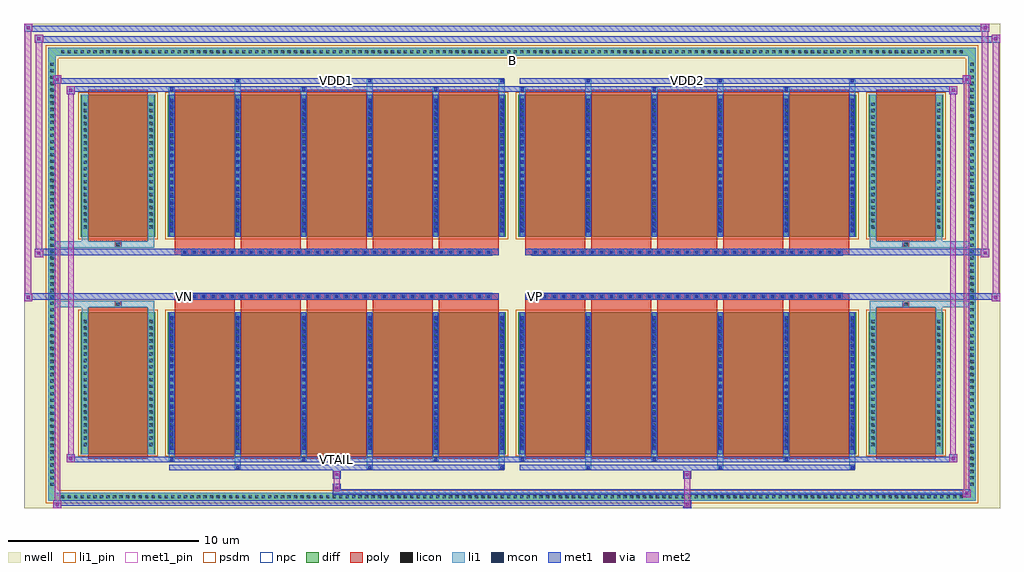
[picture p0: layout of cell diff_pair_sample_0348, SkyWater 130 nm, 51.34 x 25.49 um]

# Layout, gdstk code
import gdstk
lib = gdstk.Library(unit=1e-6, precision=5e-09)
def R(c, l, rs):  # rectangles x0, y0, x1, y1
    for r in rs: c.add(gdstk.rectangle(r[:2], r[2:], *l))
def A(c, l, x, y, w, h, nx, ny, dx, dy):  # array of equal rectangles
    R(c, l, [(x+i*dx, y+j*dy, x+i*dx+w, y+j*dy+h) for i in range(nx) for j in range(ny)])
def P(c, l, *ps):  # polygons
    for p in ps: c.add(gdstk.Polygon(p, *l))
nwell = (64, 20)
diff = (65, 20)
poly = (66, 20)
licon = (66, 44)
li1_pin = (67, 16)
li1 = (67, 20)
mcon = (67, 44)
met1_pin = (68, 16)
met1 = (68, 20)
via = (68, 44)
met2 = (69, 20)
psdm = (94, 20)
npc = (95, 20)

diff_pair_sample_0348 = lib.new_cell('diff_pair_sample_0348')
R(diff_pair_sample_0348, nwell, [(-25.67,-12.31,25.67,13.18), (-22.99,-10.5,-0.01,-0.8), (0.01,-10.5,22.99,-0.8), (-22.99,0.8,-0.01,10.5), (0.01,0.8,22.99,10.5)])
A(diff_pair_sample_0348, diff, -23.835, -11.91, 0.41, 0.41, 140, 2, 0.34, 23.41)
A(diff_pair_sample_0348, diff, -24.4, -11.255, 0.41, 0.41, 1, 66, 0, 0.34)
A(diff_pair_sample_0348, diff, 23.99, -11.255, 0.41, 0.41, 1, 66, 0, 0.34)
R(diff_pair_sample_0348, diff, [(-23.835,-11.91,23.835,-11.5), (-24.4,-11.255,-23.99,11.255), (23.99,-11.255,24.4,11.255), (-22.68,-9.455,-18.76,-1.985), (-18.12,-9.455,-0.32,-1.985), (0.32,-9.455,18.12,-1.985), (18.76,-9.455,22.68,-1.985), (-22.68,1.985,-18.76,9.455), (-18.12,1.985,-0.32,9.455), (0.32,1.985,18.12,9.455), (18.76,1.985,22.68,9.455), (-23.835,11.5,23.835,11.91)])
P(diff_pair_sample_0348, diff, [(24.4,11.91),(-24.4,11.91),(-24.4,-11.5),(-23.99,-11.5),(-23.99,11.5),(23.99,11.5),(23.99,-11.5),(-23.99,-11.5),(-24.4,-11.5),(-24.4,-11.91),(24.4,-11.91)])
A(diff_pair_sample_0348, poly, -17.73, -9.705, 3.14, 7.97, 5, 2, 3.47, 11.44)
A(diff_pair_sample_0348, poly, 0.71, -9.705, 3.14, 7.97, 5, 2, 3.47, 11.44)
A(diff_pair_sample_0348, poly, -17.73, -1.735, 3.14, 0.405, 5, 2, 3.47, 3.065)
A(diff_pair_sample_0348, poly, 0.71, -1.735, 3.14, 0.405, 5, 2, 3.47, 3.065)
A(diff_pair_sample_0348, poly, -17.385, -1.33, 0.33, 0.33, 33, 2, 0.5, 2.33)
A(diff_pair_sample_0348, poly, 1.055, -1.33, 0.33, 0.33, 33, 2, 0.5, 2.33)
R(diff_pair_sample_0348, poly, [(-22.29,-9.705,-19.15,-1.735), (19.15,-9.705,22.29,-1.735), (-20.885,-1.735,-20.555,-1.405), (-20.885,-1.735,-20.555,-1.405), (20.555,-1.735,20.885,-1.405), (20.555,-1.735,20.885,-1.405), (-17.73,-1.33,-0.71,-1), (0.71,-1.33,17.73,-1), (-17.73,1,-0.71,1.33), (0.71,1,17.73,1.33), (-20.885,1.405,-20.555,1.735), (-20.885,1.405,-20.555,1.735), (20.555,1.405,20.885,1.735), (20.555,1.405,20.885,1.735), (-22.29,1.735,-19.15,9.705), (19.15,1.735,22.29,9.705)])
A(diff_pair_sample_0348, licon, -23.715, -11.79, 0.17, 0.17, 140, 2, 0.34, 23.41)
A(diff_pair_sample_0348, licon, -24.28, -11.135, 0.17, 0.17, 1, 66, 0, 0.34)
A(diff_pair_sample_0348, licon, 24.11, -11.135, 0.17, 0.17, 1, 66, 0, 0.34)
A(diff_pair_sample_0348, licon, -22.54, -9.035, 0.17, 0.17, 1, 20, 0, 0.34)
A(diff_pair_sample_0348, licon, -19.07, -9.035, 0.17, 0.17, 1, 20, 0, 0.34)
A(diff_pair_sample_0348, licon, -17.98, -9.035, 0.17, 0.17, 6, 20, 3.47, 0.34)
A(diff_pair_sample_0348, licon, 0.46, -9.035, 0.17, 0.17, 6, 20, 3.47, 0.34)
A(diff_pair_sample_0348, licon, 18.9, -9.035, 0.17, 0.17, 1, 20, 0, 0.34)
A(diff_pair_sample_0348, licon, 22.37, -9.035, 0.17, 0.17, 1, 20, 0, 0.34)
A(diff_pair_sample_0348, licon, -17.305, -1.25, 0.17, 0.17, 33, 2, 0.5, 2.33)
A(diff_pair_sample_0348, licon, 1.135, -1.25, 0.17, 0.17, 33, 2, 0.5, 2.33)
A(diff_pair_sample_0348, licon, -22.54, 2.405, 0.17, 0.17, 1, 20, 0, 0.34)
A(diff_pair_sample_0348, licon, -19.07, 2.405, 0.17, 0.17, 1, 20, 0, 0.34)
A(diff_pair_sample_0348, licon, -17.98, 2.405, 0.17, 0.17, 6, 20, 3.47, 0.34)
A(diff_pair_sample_0348, licon, 0.46, 2.405, 0.17, 0.17, 6, 20, 3.47, 0.34)
A(diff_pair_sample_0348, licon, 18.9, 2.405, 0.17, 0.17, 1, 20, 0, 0.34)
A(diff_pair_sample_0348, licon, 22.37, 2.405, 0.17, 0.17, 1, 20, 0, 0.34)
R(diff_pair_sample_0348, licon, [(-20.805,-1.655,-20.635,-1.485), (20.635,-1.655,20.805,-1.485), (-20.805,1.485,-20.635,1.655), (20.635,1.485,20.805,1.655)])
R(diff_pair_sample_0348, li1_pin, [(-0.25,11,0.25,11.5)])
A(diff_pair_sample_0348, li1, -23.795, -11.87, 0.33, 0.33, 140, 2, 0.34, 23.41)
A(diff_pair_sample_0348, li1, -24.36, -11.215, 0.33, 0.33, 1, 66, 0, 0.34)
A(diff_pair_sample_0348, li1, 24.03, -11.215, 0.33, 0.33, 1, 66, 0, 0.34)
A(diff_pair_sample_0348, li1, -14.59, -10.26, 0.33, 0.805, 3, 2, 6.94, 19.715)
A(diff_pair_sample_0348, li1, -14.51, -10.26, 0.17, 0.17, 3, 2, 6.94, 20.35)
A(diff_pair_sample_0348, li1, 3.85, -10.26, 0.33, 0.805, 3, 2, 6.94, 19.715)
A(diff_pair_sample_0348, li1, 3.93, -10.26, 0.17, 0.17, 3, 2, 6.94, 20.35)
A(diff_pair_sample_0348, li1, -18.06, -9.83, 0.33, 0.375, 3, 2, 6.94, 19.285)
A(diff_pair_sample_0348, li1, -17.98, -9.83, 0.17, 0.17, 3, 2, 6.94, 19.49)
A(diff_pair_sample_0348, li1, 0.38, -9.83, 0.33, 0.375, 3, 2, 6.94, 19.285)
A(diff_pair_sample_0348, li1, 0.46, -9.83, 0.17, 0.17, 3, 2, 6.94, 19.49)
A(diff_pair_sample_0348, li1, -18.06, -9.455, 0.33, 7.47, 6, 2, 3.47, 11.44)
A(diff_pair_sample_0348, li1, 0.38, -9.455, 0.33, 7.47, 6, 2, 3.47, 11.44)
A(diff_pair_sample_0348, li1, -17.98, -9.225, 0.17, 0.17, 6, 20, 3.47, 0.36)
A(diff_pair_sample_0348, li1, -17.98, -9.225, 0.17, 7.01, 6, 2, 3.47, 11.44)
A(diff_pair_sample_0348, li1, 0.46, -9.225, 0.17, 0.17, 6, 20, 3.47, 0.36)
A(diff_pair_sample_0348, li1, 0.46, -9.225, 0.17, 7.01, 6, 2, 3.47, 11.44)
A(diff_pair_sample_0348, li1, -22.62, -9.115, 0.33, 0.33, 1, 20, 0, 0.34)
A(diff_pair_sample_0348, li1, -19.15, -9.115, 0.33, 0.33, 1, 20, 0, 0.34)
A(diff_pair_sample_0348, li1, -18.06, -9.115, 0.33, 0.33, 6, 20, 3.47, 0.34)
A(diff_pair_sample_0348, li1, 0.38, -9.115, 0.33, 0.33, 6, 20, 3.47, 0.34)
A(diff_pair_sample_0348, li1, 18.82, -9.115, 0.33, 0.33, 1, 20, 0, 0.34)
A(diff_pair_sample_0348, li1, 22.29, -9.115, 0.33, 0.33, 1, 20, 0, 0.34)
A(diff_pair_sample_0348, li1, -17.385, -1.33, 0.33, 0.33, 33, 2, 0.5, 2.33)
A(diff_pair_sample_0348, li1, 1.055, -1.33, 0.33, 0.33, 33, 2, 0.5, 2.33)
A(diff_pair_sample_0348, li1, -17.98, 2.215, 0.17, 0.17, 6, 20, 3.47, 0.36)
A(diff_pair_sample_0348, li1, 0.46, 2.215, 0.17, 0.17, 6, 20, 3.47, 0.36)
A(diff_pair_sample_0348, li1, -22.62, 2.325, 0.33, 0.33, 1, 20, 0, 0.34)
A(diff_pair_sample_0348, li1, -19.15, 2.325, 0.33, 0.33, 1, 20, 0, 0.34)
A(diff_pair_sample_0348, li1, -18.06, 2.325, 0.33, 0.33, 6, 20, 3.47, 0.34)
A(diff_pair_sample_0348, li1, 0.38, 2.325, 0.33, 0.33, 6, 20, 3.47, 0.34)
A(diff_pair_sample_0348, li1, 18.82, 2.325, 0.33, 0.33, 1, 20, 0, 0.34)
A(diff_pair_sample_0348, li1, 22.29, 2.325, 0.33, 0.33, 1, 20, 0, 0.34)
R(diff_pair_sample_0348, li1, [(-24.4,-11.91,-23.99,-11.5), (-24.4,-11.91,-23.99,-11.5), (-23.99,-11.91,23.99,-11.5), (23.99,-11.91,24.4,-11.5), (23.99,-11.91,24.4,-11.5), (-24.4,-11.5,-23.99,11.5), (23.99,-11.5,24.4,11.5), (-22.62,-9.455,-22.29,-1.985), (-19.15,-9.455,-18.82,-1.985), (18.82,-9.455,19.15,-1.985), (22.29,-9.455,22.62,-1.985), (-22.62,-1.985,-22.29,-1.405), (-19.15,-1.985,-18.82,-1.405), (18.82,-1.985,19.15,-1.405), (22.29,-1.985,22.62,-1.405), (-24.4,-1.735,-20.885,-1.405), (-22.62,-1.735,-20.885,-1.405), (-20.885,-1.735,-20.555,-1.405), (-20.555,-1.735,-18.82,-1.405), (18.82,-1.735,20.555,-1.405), (20.555,-1.735,20.885,-1.405), (20.555,-1.735,24.4,-1.405), (20.885,-1.735,22.62,-1.405), (-24.4,1.405,-20.885,1.735), (-22.62,1.405,-20.885,1.735), (-22.62,1.405,-22.29,1.985), (-20.885,1.405,-20.555,1.735), (-20.555,1.405,-18.82,1.735), (-19.15,1.405,-18.82,1.985), (18.82,1.405,20.555,1.735), (18.82,1.405,19.15,1.985), (20.555,1.405,20.885,1.735), (20.555,1.405,24.4,1.735), (20.885,1.405,22.62,1.735), (22.29,1.405,22.62,1.985), (-22.62,1.985,-22.29,9.455), (-19.15,1.985,-18.82,9.455), (18.82,1.985,19.15,9.455), (22.29,1.985,22.62,9.455), (-24.4,11.5,-23.99,11.91), (-24.4,11.5,-23.99,11.91), (-23.99,11.5,23.99,11.91), (23.99,11.5,24.4,11.91), (23.99,11.5,24.4,11.91)])
A(diff_pair_sample_0348, mcon, -14.51, -10.26, 0.17, 0.17, 3, 2, 6.94, 20.35)
A(diff_pair_sample_0348, mcon, 3.93, -10.26, 0.17, 0.17, 3, 2, 6.94, 20.35)
A(diff_pair_sample_0348, mcon, -17.98, -9.83, 0.17, 0.17, 3, 2, 6.94, 19.49)
A(diff_pair_sample_0348, mcon, 0.46, -9.83, 0.17, 0.17, 3, 2, 6.94, 19.49)
A(diff_pair_sample_0348, mcon, -17.98, -9.225, 0.17, 0.17, 6, 20, 3.47, 0.36)
A(diff_pair_sample_0348, mcon, 0.46, -9.225, 0.17, 0.17, 6, 20, 3.47, 0.36)
A(diff_pair_sample_0348, mcon, -17.305, -1.25, 0.17, 0.17, 33, 2, 0.5, 2.33)
A(diff_pair_sample_0348, mcon, 1.135, -1.25, 0.17, 0.17, 33, 2, 0.5, 2.33)
A(diff_pair_sample_0348, mcon, -17.98, 2.215, 0.17, 0.17, 6, 20, 3.47, 0.36)
A(diff_pair_sample_0348, mcon, 0.46, 2.215, 0.17, 0.17, 6, 20, 3.47, 0.36)
R(diff_pair_sample_0348, met1_pin, [(-9.355,-9.87,-9.085,-9.6), (-17.355,-1.29,-17.085,-1.02), (1.085,-1.29,1.355,-1.02), (-9.355,10.05,-9.085,10.32), (9.085,10.05,9.355,10.32)])
A(diff_pair_sample_0348, met1, -14.57, -10.32, 0.29, 0.29, 3, 2, 6.94, 20.35)
A(diff_pair_sample_0348, met1, 3.87, -10.32, 0.29, 0.29, 3, 2, 6.94, 20.35)
A(diff_pair_sample_0348, met1, -18.04, -9.89, 0.29, 0.29, 3, 2, 6.94, 19.49)
A(diff_pair_sample_0348, met1, 0.4, -9.89, 0.29, 0.29, 3, 2, 6.94, 19.49)
A(diff_pair_sample_0348, met1, -18.04, -9.455, 0.29, 7.47, 6, 2, 3.47, 11.44)
A(diff_pair_sample_0348, met1, 0.4, -9.455, 0.29, 7.47, 6, 2, 3.47, 11.44)
A(diff_pair_sample_0348, met1, -18.04, -9.285, 0.29, 0.29, 6, 20, 3.47, 0.36)
A(diff_pair_sample_0348, met1, 0.4, -9.285, 0.29, 0.29, 6, 20, 3.47, 0.36)
A(diff_pair_sample_0348, met1, -17.365, -1.31, 0.29, 0.29, 33, 2, 0.5, 2.33)
A(diff_pair_sample_0348, met1, 1.075, -1.31, 0.29, 0.29, 33, 2, 0.5, 2.33)
A(diff_pair_sample_0348, met1, -18.04, 2.155, 0.29, 0.29, 6, 20, 3.47, 0.36)
A(diff_pair_sample_0348, met1, 0.4, 2.155, 0.29, 0.29, 6, 20, 3.47, 0.36)
R(diff_pair_sample_0348, met1, [(-24.13,-12.31,-23.7,-11.88), (9.005,-12.31,9.435,-11.88), (-24.13,-12.17,9.435,-11.88), (23.7,-11.74,24.13,-11.31), (-9.435,-11.6,24.13,-11.31), (-9.435,-11.46,-9.005,-11.03), (-9.435,-10.75,-9.005,-10.32), (9.005,-10.75,9.435,-10.32), (-18.04,-10.32,-0.4,-10.03), (0.4,-10.32,18.04,-10.03), (-23.42,-9.89,-22.99,-9.46), (-23.42,-9.89,-18.04,-9.6), (-18.04,-9.89,-0.4,-9.6), (-0.4,-9.89,0.4,-9.6), (0.4,-9.89,18.04,-9.6), (18.04,-9.89,23.42,-9.6), (22.99,-9.89,23.42,-9.46), (-25.67,-1.43,-25.24,-1), (25.24,-1.43,25.67,-1), (-25.67,-1.33,-0.71,-1), (-17.73,-1.33,-0.71,-1), (0.71,-1.33,17.73,-1), (0.71,-1.33,25.67,-1), (-25.1,0.9,-24.67,1.33), (24.67,0.9,25.1,1.33), (-25.1,1,-17.73,1.33), (-17.73,1,-0.71,1.33), (0.71,1,17.73,1.33), (17.73,1,25.1,1.33), (-23.42,9.46,-22.99,9.89), (22.99,9.46,23.42,9.89), (-23.42,9.6,-18.04,9.89), (-18.04,9.6,-0.4,9.89), (-0.4,9.6,0.4,9.89), (0.4,9.6,18.04,9.89), (18.04,9.6,23.42,9.89), (-24.13,10.03,-23.7,10.46), (-24.13,10.03,-18.04,10.32), (-18.04,10.03,-0.4,10.32), (0.4,10.03,18.04,10.32), (18.04,10.03,24.13,10.32), (23.7,10.03,24.13,10.46), (-25.1,12.18,-24.67,12.61), (-25.1,12.18,-22.99,12.51), (-22.99,12.18,22.99,12.51), (22.99,12.18,25.67,12.51), (25.24,12.18,25.67,12.61), (-25.67,12.75,-25.24,13.18), (-25.67,12.75,-22.99,13.08), (-22.99,12.75,22.99,13.08), (22.99,12.75,25.1,13.08), (24.67,12.75,25.1,13.18)])
R(diff_pair_sample_0348, via, [(-23.99,-12.17,-23.84,-12.02), (9.145,-12.17,9.295,-12.02), (23.84,-11.6,23.99,-11.45), (-9.295,-11.32,-9.145,-11.17), (-9.295,-10.61,-9.145,-10.46), (9.145,-10.61,9.295,-10.46), (-23.28,-9.75,-23.13,-9.6), (23.13,-9.75,23.28,-9.6), (-25.53,-1.29,-25.38,-1.14), (25.38,-1.29,25.53,-1.14), (-24.96,1.04,-24.81,1.19), (24.81,1.04,24.96,1.19), (-23.28,9.6,-23.13,9.75), (23.13,9.6,23.28,9.75), (-23.99,10.17,-23.84,10.32), (23.84,10.17,23.99,10.32), (-24.96,12.32,-24.81,12.47), (25.38,12.32,25.53,12.47), (-25.53,12.89,-25.38,13.04), (24.81,12.89,24.96,13.04)])
R(diff_pair_sample_0348, met2, [(-24.13,-12.31,-23.7,-11.88), (-24.06,-12.31,-23.77,10.46), (-23.77,-12.31,-23.7,-11.88), (-24.08,-12.26,-23.75,-11.93), (9.055,-12.26,9.385,-11.93), (9.055,-11.93,9.385,-10.7), (23.7,-11.74,24.13,-11.31), (23.77,-11.74,24.06,10.46), (24.06,-11.74,24.13,-11.31), (23.75,-11.69,24.08,-11.36), (-9.385,-11.41,-9.055,-11.08), (-9.385,-11.08,-9.055,-10.7), (-9.385,-10.7,-9.055,-10.37), (9.055,-10.7,9.385,-10.37), (-23.42,-9.89,-22.99,-9.46), (-23.35,-9.89,-23.06,9.89), (-23.06,-9.89,-22.99,-9.46), (22.99,-9.89,23.42,-9.46), (23.06,-9.89,23.35,9.89), (23.35,-9.89,23.42,-9.46), (-23.37,-9.84,-23.04,-9.51), (23.04,-9.84,23.37,-9.51), (-25.67,-1.43,-25.24,-1), (-25.62,-1.43,-25.29,13.18), (-25.29,-1.43,-25.24,-1), (25.24,-1.43,25.67,-1), (25.29,-1.43,25.62,12.61), (25.62,-1.43,25.67,-1), (-25.62,-1.38,-25.29,-1.05), (25.29,-1.38,25.62,-1.05), (-25.1,0.9,-24.67,1.33), (-25.05,0.9,-24.72,12.61), (-24.72,0.9,-24.67,1.33), (24.67,0.9,25.1,1.33), (24.72,0.9,25.05,13.18), (25.05,0.9,25.1,1.33), (-25.05,0.95,-24.72,1.28), (24.72,0.95,25.05,1.28), (-23.42,9.46,-22.99,9.89), (-23.06,9.46,-22.99,9.89), (22.99,9.46,23.42,9.89), (23.35,9.46,23.42,9.89), (-23.37,9.51,-23.04,9.84), (23.04,9.51,23.37,9.84), (-24.13,10.03,-23.7,10.46), (-23.77,10.03,-23.7,10.46), (23.7,10.03,24.13,10.46), (24.06,10.03,24.13,10.46), (-24.08,10.08,-23.75,10.41), (23.75,10.08,24.08,10.41), (-25.1,12.18,-24.67,12.61), (-24.72,12.18,-24.67,12.61), (25.24,12.18,25.67,12.61), (25.62,12.18,25.67,12.61), (-25.05,12.23,-24.72,12.56), (25.29,12.23,25.62,12.56), (-25.67,12.75,-25.24,13.18), (-25.29,12.75,-25.24,13.18), (24.67,12.75,25.1,13.18), (25.05,12.75,25.1,13.18), (-25.62,12.8,-25.29,13.13), (24.72,12.8,25.05,13.13)])
R(diff_pair_sample_0348, psdm, [(-22.81,-9.585,-18.63,-1.855), (-18.25,-9.585,-0.19,-1.855), (0.19,-9.585,18.25,-1.855), (18.63,-9.585,22.81,-1.855), (-22.81,1.855,-18.63,9.585), (-18.25,1.855,-0.19,9.585), (0.19,1.855,18.25,9.585), (18.63,1.855,22.81,9.585)])
P(diff_pair_sample_0348, psdm, [(24.53,12.04),(-24.53,12.04),(-24.53,-11.37),(-23.86,-11.37),(-23.86,11.37),(23.86,11.37),(23.86,-11.37),(-23.86,-11.37),(-24.53,-11.37),(-24.53,-12.04),(24.53,-12.04)])
A(diff_pair_sample_0348, npc, -17.405, -1.35, 0.37, 0.37, 33, 2, 0.5, 2.33)
A(diff_pair_sample_0348, npc, 1.035, -1.35, 0.37, 0.37, 33, 2, 0.5, 2.33)
R(diff_pair_sample_0348, npc, [(-20.905,-1.755,-20.535,-1.385), (20.535,-1.755,20.905,-1.385), (-17.405,-1.35,-16.535,-0.98), (-17.405,-1.35,-16.535,-0.98), (-16.905,-1.35,-16.035,-0.98), (-16.905,-1.35,-16.035,-0.98), (-16.405,-1.35,-15.535,-0.98), (-16.405,-1.35,-15.535,-0.98), (-15.905,-1.35,-15.035,-0.98), (-15.905,-1.35,-15.035,-0.98), (-15.405,-1.35,-14.535,-0.98), (-15.405,-1.35,-14.535,-0.98), (-14.905,-1.35,-14.035,-0.98), (-14.905,-1.35,-14.035,-0.98), (-14.405,-1.35,-13.535,-0.98), (-14.405,-1.35,-13.535,-0.98), (-13.905,-1.35,-13.035,-0.98), (-13.905,-1.35,-13.035,-0.98), (-13.405,-1.35,-12.535,-0.98), (-13.405,-1.35,-12.535,-0.98), (-12.905,-1.35,-12.035,-0.98), (-12.905,-1.35,-12.035,-0.98), (-12.405,-1.35,-11.535,-0.98), (-12.405,-1.35,-11.535,-0.98), (-11.905,-1.35,-11.035,-0.98), (-11.905,-1.35,-11.035,-0.98), (-11.405,-1.35,-10.535,-0.98), (-11.405,-1.35,-10.535,-0.98), (-10.905,-1.35,-10.035,-0.98), (-10.905,-1.35,-10.035,-0.98), (-10.405,-1.35,-9.535,-0.98), (-10.405,-1.35,-9.535,-0.98), (-9.905,-1.35,-9.035,-0.98), (-9.905,-1.35,-9.035,-0.98), (-9.405,-1.35,-8.535,-0.98), (-9.405,-1.35,-8.535,-0.98), (-8.905,-1.35,-8.035,-0.98), (-8.905,-1.35,-8.035,-0.98), (-8.405,-1.35,-7.535,-0.98), (-8.405,-1.35,-7.535,-0.98), (-7.905,-1.35,-7.035,-0.98), (-7.905,-1.35,-7.035,-0.98), (-7.405,-1.35,-6.535,-0.98), (-7.405,-1.35,-6.535,-0.98), (-6.905,-1.35,-6.035,-0.98), (-6.905,-1.35,-6.035,-0.98), (-6.405,-1.35,-5.535,-0.98), (-6.405,-1.35,-5.535,-0.98), (-5.905,-1.35,-5.035,-0.98), (-5.905,-1.35,-5.035,-0.98), (-5.405,-1.35,-4.535,-0.98), (-5.405,-1.35,-4.535,-0.98), (-4.905,-1.35,-4.035,-0.98), (-4.905,-1.35,-4.035,-0.98), (-4.405,-1.35,-3.535,-0.98), (-4.405,-1.35,-3.535,-0.98), (-3.905,-1.35,-3.035,-0.98), (-3.905,-1.35,-3.035,-0.98), (-3.405,-1.35,-2.535,-0.98), (-3.405,-1.35,-2.535,-0.98), (-2.905,-1.35,-2.035,-0.98), (-2.905,-1.35,-2.035,-0.98), (-2.405,-1.35,-1.535,-0.98), (-2.405,-1.35,-1.535,-0.98), (-1.905,-1.35,-1.035,-0.98), (-1.905,-1.35,-1.035,-0.98), (1.035,-1.35,1.905,-0.98), (1.035,-1.35,1.905,-0.98), (1.535,-1.35,2.405,-0.98), (1.535,-1.35,2.405,-0.98), (2.035,-1.35,2.905,-0.98), (2.035,-1.35,2.905,-0.98), (2.535,-1.35,3.405,-0.98), (2.535,-1.35,3.405,-0.98), (3.035,-1.35,3.905,-0.98), (3.035,-1.35,3.905,-0.98), (3.535,-1.35,4.405,-0.98), (3.535,-1.35,4.405,-0.98), (4.035,-1.35,4.905,-0.98), (4.035,-1.35,4.905,-0.98), (4.535,-1.35,5.405,-0.98), (4.535,-1.35,5.405,-0.98), (5.035,-1.35,5.905,-0.98), (5.035,-1.35,5.905,-0.98), (5.535,-1.35,6.405,-0.98), (5.535,-1.35,6.405,-0.98), (6.035,-1.35,6.905,-0.98), (6.035,-1.35,6.905,-0.98), (6.535,-1.35,7.405,-0.98), (6.535,-1.35,7.405,-0.98), (7.035,-1.35,7.905,-0.98), (7.035,-1.35,7.905,-0.98), (7.535,-1.35,8.405,-0.98), (7.535,-1.35,8.405,-0.98), (8.035,-1.35,8.905,-0.98), (8.035,-1.35,8.905,-0.98), (8.535,-1.35,9.405,-0.98), (8.535,-1.35,9.405,-0.98), (9.035,-1.35,9.905,-0.98), (9.035,-1.35,9.905,-0.98), (9.535,-1.35,10.405,-0.98), (9.535,-1.35,10.405,-0.98), (10.035,-1.35,10.905,-0.98), (10.035,-1.35,10.905,-0.98), (10.535,-1.35,11.405,-0.98), (10.535,-1.35,11.405,-0.98), (11.035,-1.35,11.905,-0.98), (11.035,-1.35,11.905,-0.98), (11.535,-1.35,12.405,-0.98), (11.535,-1.35,12.405,-0.98), (12.035,-1.35,12.905,-0.98), (12.035,-1.35,12.905,-0.98), (12.535,-1.35,13.405,-0.98), (12.535,-1.35,13.405,-0.98), (13.035,-1.35,13.905,-0.98), (13.035,-1.35,13.905,-0.98), (13.535,-1.35,14.405,-0.98), (13.535,-1.35,14.405,-0.98), (14.035,-1.35,14.905,-0.98), (14.035,-1.35,14.905,-0.98), (14.535,-1.35,15.405,-0.98), (14.535,-1.35,15.405,-0.98), (15.035,-1.35,15.905,-0.98), (15.035,-1.35,15.905,-0.98), (15.535,-1.35,16.405,-0.98), (15.535,-1.35,16.405,-0.98), (16.035,-1.35,16.905,-0.98), (16.035,-1.35,16.905,-0.98), (16.535,-1.35,17.405,-0.98), (16.535,-1.35,17.405,-0.98), (-17.405,0.98,-16.535,1.35), (-17.405,0.98,-16.535,1.35), (-16.905,0.98,-16.035,1.35), (-16.905,0.98,-16.035,1.35), (-16.405,0.98,-15.535,1.35), (-16.405,0.98,-15.535,1.35), (-15.905,0.98,-15.035,1.35), (-15.905,0.98,-15.035,1.35), (-15.405,0.98,-14.535,1.35), (-15.405,0.98,-14.535,1.35), (-14.905,0.98,-14.035,1.35), (-14.905,0.98,-14.035,1.35), (-14.405,0.98,-13.535,1.35), (-14.405,0.98,-13.535,1.35), (-13.905,0.98,-13.035,1.35), (-13.905,0.98,-13.035,1.35), (-13.405,0.98,-12.535,1.35), (-13.405,0.98,-12.535,1.35), (-12.905,0.98,-12.035,1.35), (-12.905,0.98,-12.035,1.35), (-12.405,0.98,-11.535,1.35), (-12.405,0.98,-11.535,1.35), (-11.905,0.98,-11.035,1.35), (-11.905,0.98,-11.035,1.35), (-11.405,0.98,-10.535,1.35), (-11.405,0.98,-10.535,1.35), (-10.905,0.98,-10.035,1.35), (-10.905,0.98,-10.035,1.35), (-10.405,0.98,-9.535,1.35), (-10.405,0.98,-9.535,1.35), (-9.905,0.98,-9.035,1.35), (-9.905,0.98,-9.035,1.35), (-9.405,0.98,-8.535,1.35), (-9.405,0.98,-8.535,1.35), (-8.905,0.98,-8.035,1.35), (-8.905,0.98,-8.035,1.35), (-8.405,0.98,-7.535,1.35), (-8.405,0.98,-7.535,1.35), (-7.905,0.98,-7.035,1.35), (-7.905,0.98,-7.035,1.35), (-7.405,0.98,-6.535,1.35), (-7.405,0.98,-6.535,1.35), (-6.905,0.98,-6.035,1.35), (-6.905,0.98,-6.035,1.35), (-6.405,0.98,-5.535,1.35), (-6.405,0.98,-5.535,1.35), (-5.905,0.98,-5.035,1.35), (-5.905,0.98,-5.035,1.35), (-5.405,0.98,-4.535,1.35), (-5.405,0.98,-4.535,1.35), (-4.905,0.98,-4.035,1.35), (-4.905,0.98,-4.035,1.35), (-4.405,0.98,-3.535,1.35), (-4.405,0.98,-3.535,1.35), (-3.905,0.98,-3.035,1.35), (-3.905,0.98,-3.035,1.35), (-3.405,0.98,-2.535,1.35), (-3.405,0.98,-2.535,1.35), (-2.905,0.98,-2.035,1.35), (-2.905,0.98,-2.035,1.35), (-2.405,0.98,-1.535,1.35), (-2.405,0.98,-1.535,1.35), (-1.905,0.98,-1.035,1.35), (-1.905,0.98,-1.035,1.35), (1.035,0.98,1.905,1.35), (1.035,0.98,1.905,1.35), (1.535,0.98,2.405,1.35), (1.535,0.98,2.405,1.35), (2.035,0.98,2.905,1.35), (2.035,0.98,2.905,1.35), (2.535,0.98,3.405,1.35), (2.535,0.98,3.405,1.35), (3.035,0.98,3.905,1.35), (3.035,0.98,3.905,1.35), (3.535,0.98,4.405,1.35), (3.535,0.98,4.405,1.35), (4.035,0.98,4.905,1.35), (4.035,0.98,4.905,1.35), (4.535,0.98,5.405,1.35), (4.535,0.98,5.405,1.35), (5.035,0.98,5.905,1.35), (5.035,0.98,5.905,1.35), (5.535,0.98,6.405,1.35), (5.535,0.98,6.405,1.35), (6.035,0.98,6.905,1.35), (6.035,0.98,6.905,1.35), (6.535,0.98,7.405,1.35), (6.535,0.98,7.405,1.35), (7.035,0.98,7.905,1.35), (7.035,0.98,7.905,1.35), (7.535,0.98,8.405,1.35), (7.535,0.98,8.405,1.35), (8.035,0.98,8.905,1.35), (8.035,0.98,8.905,1.35), (8.535,0.98,9.405,1.35), (8.535,0.98,9.405,1.35), (9.035,0.98,9.905,1.35), (9.035,0.98,9.905,1.35), (9.535,0.98,10.405,1.35), (9.535,0.98,10.405,1.35), (10.035,0.98,10.905,1.35), (10.035,0.98,10.905,1.35), (10.535,0.98,11.405,1.35), (10.535,0.98,11.405,1.35), (11.035,0.98,11.905,1.35), (11.035,0.98,11.905,1.35), (11.535,0.98,12.405,1.35), (11.535,0.98,12.405,1.35), (12.035,0.98,12.905,1.35), (12.035,0.98,12.905,1.35), (12.535,0.98,13.405,1.35), (12.535,0.98,13.405,1.35), (13.035,0.98,13.905,1.35), (13.035,0.98,13.905,1.35), (13.535,0.98,14.405,1.35), (13.535,0.98,14.405,1.35), (14.035,0.98,14.905,1.35), (14.035,0.98,14.905,1.35), (14.535,0.98,15.405,1.35), (14.535,0.98,15.405,1.35), (15.035,0.98,15.905,1.35), (15.035,0.98,15.905,1.35), (15.535,0.98,16.405,1.35), (15.535,0.98,16.405,1.35), (16.035,0.98,16.905,1.35), (16.035,0.98,16.905,1.35), (16.535,0.98,17.405,1.35), (16.535,0.98,17.405,1.35), (-20.905,1.385,-20.535,1.755), (20.535,1.385,20.905,1.755)])
diff_pair_sample_0348.add(gdstk.Label('VTAIL', (-9.22,-9.735), layer=68, texttype=5))
diff_pair_sample_0348.add(gdstk.Label('VN', (-17.22,-1.155), layer=68, texttype=5))
diff_pair_sample_0348.add(gdstk.Label('VP', (1.22,-1.155), layer=68, texttype=5))
diff_pair_sample_0348.add(gdstk.Label('B', (0,11.25), layer=67, texttype=5))
diff_pair_sample_0348.add(gdstk.Label('VDD2', (9.22,10.185), layer=68, texttype=5))
diff_pair_sample_0348.add(gdstk.Label('VDD1', (-9.22,10.185), layer=68, texttype=5))

lib.write_gds('diff_pair_sample_0348.gds')
